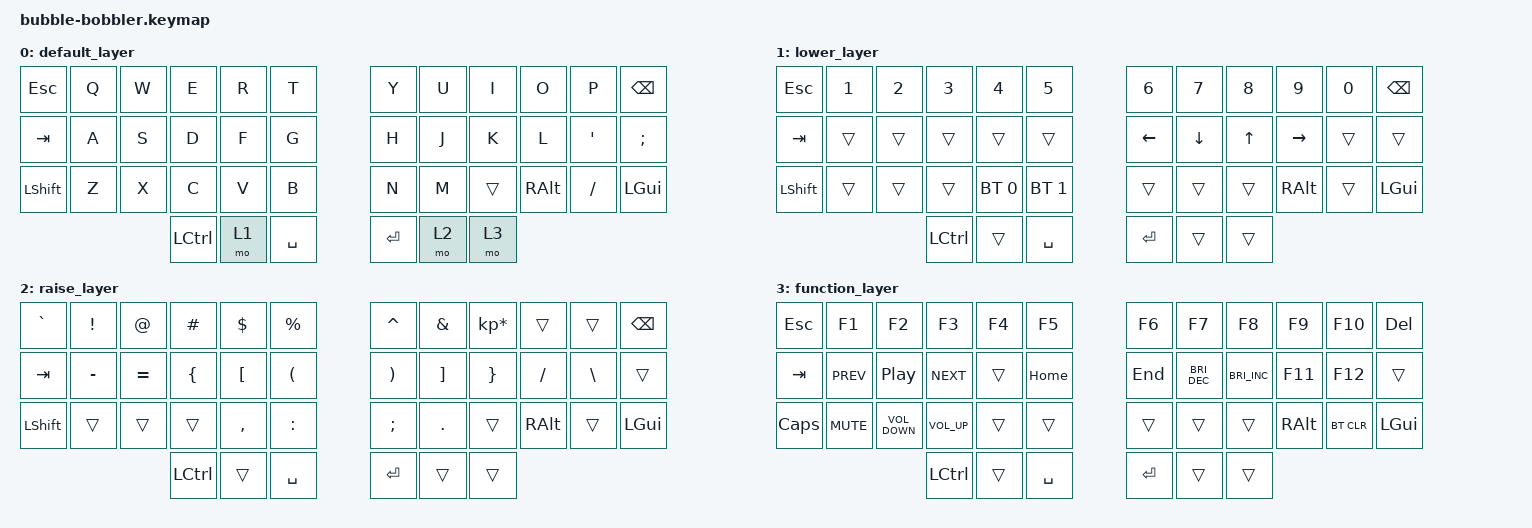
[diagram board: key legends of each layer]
/*
 * Copyright (c) 2020 The ZMK Contributors
 *
 * SPDX-License-Identifier: MIT
 */

#include <behaviors.dtsi>
#include <dt-bindings/zmk/keys.h>
#include <dt-bindings/zmk/bt.h>

/ {
        keymap {
                compatible = "zmk,keymap";

                default_layer {
// -----------------------------------------------------------------------------------------
// | ESC  |  Q  |  W  |  E  |  R  |  T  |   |  Y  |  U   |  I  |  O  |  P  | BKSP |
// | TAB  |  A  |  S  |  D  |  F  |  G  |   |  H  |  J   |  K  |  L  |  '  |      |
// | SHFT |  Z  |  X  |  C  |  V  |  B  |   |  N  |  M   |     | ALT |  /  | GUI  |
//                    |LCTRL| LWR*| SPC |   | ENT | RSE* | FN* |
                        bindings = <
&kp ESC         &kp Q  &kp W  &kp E      &kp R  &kp T         &kp Y    &kp U  &kp I   &kp O     &kp P     &kp BKSP
&kp TAB         &kp A  &kp S  &kp D      &kp F  &kp G         &kp H    &kp J  &kp K   &kp L     &kp SQT   &kp SEMI
&kp LEFT_SHIFT  &kp Z  &kp X  &kp C      &kp V  &kp B         &kp N    &kp M  &trans  &kp RALT  &kp FSLH  &kp LGUI
                              &kp LCTRL  &mo 1  &kp SPACE     &kp RET  &mo 2  &mo 3
                        >;
                };
                lower_layer {
// -----------------------------------------------------------------------------------------
// | ESC  |  1  |  2  |  3  |  4  |  5  |   |  6  |  7  |  8  |  9  |  0  | BKSP |
// | TAB  |     |     |     |     |     |   | LFT | DWN |  UP | RGT |     |      |
// | SHFT |     |     |     | BT0 | BT1 |   |     |     |     | ALT |     | GUI  |
//                    |LCTRL|     | SPC |   | ENT |     |     |
                        bindings = <
&kp ESC         &kp N1  &kp N2  &kp N3     &kp N4        &kp N5           &kp N6   &kp N7    &kp N8    &kp N9    &kp N0     &kp BKSP
&kp TAB         &trans  &trans  &trans     &trans        &trans           &kp LEFT &kp DOWN  &kp UP    &kp RIGHT &trans     &trans
&kp LEFT_SHIFT  &trans  &trans  &trans     &bt BT_SEL 0  &bt BT_SEL 1     &trans   &trans    &trans    &kp RALT  &trans     &kp LGUI
                                &kp LCTRL  &trans        &kp SPACE        &kp RET  &trans    &trans
                        >;
                };
                raise_layer {
// -----------------------------------------------------------------------------------------
// | GRAVE|  !  |  @  |  #  |  $  |  %  |   |  ^  |  &  |  *  |     |     | BKSP |
// | TAB  |  -  |  =  |  {  |  [  |  (  |   |  )  |  ]  |  }  |  /  |  \  |      |
// | SHFT |     |     |     |  ,  |  :  |   |  ;  |  .  |     | ALT |     | GUI  |
//                    |LCTRL|     | SPC |   | ENT |     |     |
                        bindings = <
&kp GRAVE       &kp EXCL   &kp AT     &kp HASH   &kp DLLR   &kp PRCNT     &kp CARET  &kp AMPS  &kp KP_MULTIPLY  &trans    &trans    &kp BKSP
&kp TAB         &kp MINUS  &kp EQUAL  &kp LBRC   &kp LBKT   &kp LPAR      &kp RPAR   &kp RBKT  &kp RBRC         &kp FSLH  &kp BSLH  &trans
&kp LEFT_SHIFT  &trans     &trans     &trans     &kp COMMA  &kp COLON     &kp SEMI   &kp DOT   &trans           &kp RALT  &trans    &kp LGUI
                                      &kp LCTRL  &trans     &kp SPACE     &kp RET    &trans    &trans
                        >;
                };
                function_layer {
// -----------------------------------------------------------------------------------------
// | ESC  | F1  | F2  | F3  | F4  | F5  |   | F6  | F7  | F8  | F9  | F10 | DEL  |
// | TAB  | PREV| PP  | NEXT|     | HOME|   | END |B DEC|B INC| F11 | F12 |      |
// | CAPS | MUTE|V DWN| V UP|     |     |   |     |     |     | ALT |BTCLR| GUI  |
//                    |LCTRL|     | SPC |   | ENT |     |     |
                        bindings = <
&kp ESC       &kp F1      &kp F2             &kp F3           &kp F4  &kp F5        &kp F6   &kp F7                &kp F8                &kp F9    &kp F10     &kp DEL
&kp TAB       &kp C_PREV  &kp C_PP           &kp C_NEXT       &trans  &kp HOME      &kp END  &kp C_BRIGHTNESS_DEC  &kp C_BRIGHTNESS_INC  &kp F11   &kp F12     &trans
&kp CAPSLOCK  &kp C_MUTE  &kp C_VOLUME_DOWN  &kp C_VOLUME_UP  &trans  &trans        &trans   &trans                &trans                &kp RALT  &bt BT_CLR  &kp LGUI
                                               &kp LCTRL        &trans  &kp SPACE     &kp RET  &trans                &trans
                        >;
                };
        };
};
